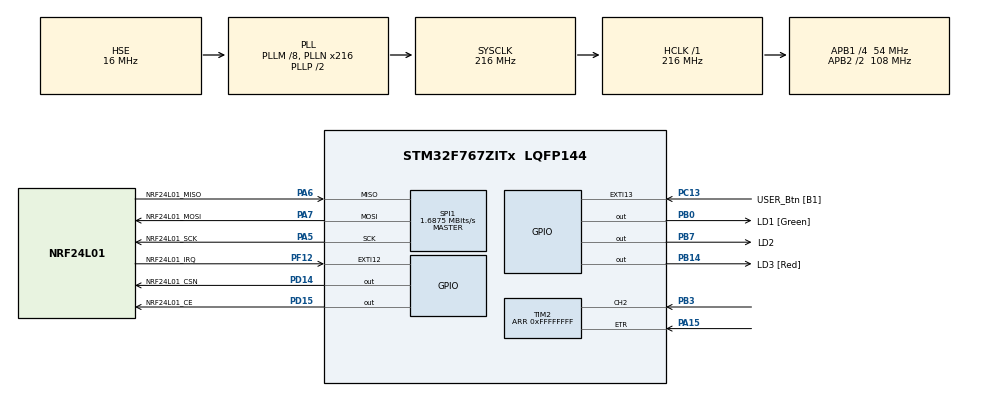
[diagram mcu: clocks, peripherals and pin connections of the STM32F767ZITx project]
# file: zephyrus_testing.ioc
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Mcu.Family=STM32F7
Mcu.Name=STM32F767ZITx
Mcu.Package=LQFP144
NVIC.EXTI15_10_IRQn=true\:0\:0\:false\:false\:true\:true\:true
NVIC.PriorityGroup=NVIC_PRIORITYGROUP_4
NVIC.SPI1_IRQn=true\:0\:0\:false\:false\:true\:true\:true
NVIC.TIM2_IRQn=true\:0\:0\:false\:false\:true\:true\:true
NVIC.TIM6_DAC_IRQn=true\:0\:0\:false\:false\:true\:false\:true
NVIC.TimeBase=TIM6_DAC_IRQn
NVIC.TimeBaseIP=TIM6
PA15.Signal=S_TIM2_CH1_ETR
PA5.GPIO_Label=NRF24L01_SCK
PA5.Mode=Full_Duplex_Master
PA5.Signal=SPI1_SCK
PA6.GPIO_Label=NRF24L01_MISO
PA6.Mode=Full_Duplex_Master
PA6.Signal=SPI1_MISO
PA7.GPIO_Label=NRF24L01_MOSI
PA7.Mode=Full_Duplex_Master
PA7.Signal=SPI1_MOSI
PB0.GPIO_Label=LD1 [Green]
PB0.Signal=GPIO_Output
PB14.GPIO_Label=LD3 [Red]
PB14.Signal=GPIO_Output
PB3.Signal=S_TIM2_CH2
PB7.GPIO_Label=LD2
PB7.Signal=GPIO_Output
PC13.GPIO_Label=USER_Btn [B1]
PC13.Signal=GPXTI13
PC14/OSC32_IN.Mode=LSE-External-Oscillator
PC14/OSC32_IN.Signal=RCC_OSC32_IN
PC15/OSC32_OUT.Mode=LSE-External-Oscillator
PC15/OSC32_OUT.Signal=RCC_OSC32_OUT
PD14.GPIO_Label=NRF24L01_CSN
PD14.GPIO_ModeDefaultOutputPP=GPIO_MODE_OUTPUT_PP
PD14.GPIO_PuPd=GPIO_PULLUP
PD14.PinState=GPIO_PIN_SET
PD14.Signal=GPIO_Output
PD15.GPIO_Label=NRF24L01_CE
PD15.GPIO_ModeDefaultOutputPP=GPIO_MODE_OUTPUT_PP
PD15.GPIO_PuPd=GPIO_PULLUP
PD15.Signal=GPIO_Output
PF12.GPIO_Label=NRF24L01_IRQ
PF12.GPIO_ModeDefaultEXTI=GPIO_MODE_IT_FALLING
PF12.GPIO_PuPd=GPIO_PULLUP
PF12.Signal=GPXTI12
PH0/OSC_IN.Mode=HSE-External-Oscillator
PH0/OSC_IN.Signal=RCC_OSC_IN
PH1/OSC_OUT.Mode=HSE-External-Oscillator
PH1/OSC_OUT.Signal=RCC_OSC_OUT
ProjectManager.HeapSize=0x200
ProjectManager.StackSize=0x400
ProjectManager.TargetToolchain=MDK-ARM V5.27
RCC.48MHZClocksFreq_Value=24000000
RCC.AHBFreq_Value=216000000
RCC.APB1CLKDivider=RCC_HCLK_DIV4
RCC.APB1Freq_Value=54000000
RCC.APB1TimFreq_Value=108000000
RCC.APB2CLKDivider=RCC_HCLK_DIV2
RCC.APB2Freq_Value=108000000
RCC.APB2TimFreq_Value=216000000
RCC.CortexFreq_Value=216000000
RCC.HCLKFreq_Value=216000000
RCC.HSE_VALUE=16000000
RCC.HSI_VALUE=16000000
RCC.PLLM=8
RCC.PLLMUL=RCC_PLL_MUL9
RCC.PLLN=216
RCC.PLLSourceVirtual=RCC_PLLSOURCE_HSE
RCC.PRESCALERUSB=RCC_USBCLKSOURCE_PLL_DIV1_5
RCC.SYSCLKFreq_VALUE=216000000
RCC.SYSCLKSource=RCC_SYSCLKSOURCE_PLLCLK
RCC.SYSCLKSourceVirtual=RCC_SYSCLKSOURCE_PLLCLK
RCC.USBFreq_Value=216000000
RCC.VCOOutputFreq_Value=432000000
SH.S_TIM2_CH1_ETR.0=TIM2_ETR,TriggerSource_ETR
SH.S_TIM2_CH2.0=TIM2_CH2,Input_Capture2_from_TI2
SPI1.BaudRatePrescaler=SPI_BAUDRATEPRESCALER_64
SPI1.CLKPhase=SPI_PHASE_1EDGE
SPI1.CLKPolarity=SPI_POLARITY_LOW
SPI1.CalculateBaudRate=1.6875 MBits/s
SPI1.DataSize=SPI_DATASIZE_8BIT
SPI1.Direction=SPI_DIRECTION_2LINES
SPI1.Mode=SPI_MODE_MASTER
SPI1.NSSPMode=SPI_NSS_PULSE_DISABLE
SPI1.VirtualType=VM_MASTER
TIM2.Channel-Input_Capture2_from_TI2=TIM_CHANNEL_2
TIM2.ICPolarity_CH2=TIM_INPUTCHANNELPOLARITY_FALLING
TIM2.Period=0xFFFFFFFF
VP_SYS_VS_tim6.Mode=TIM6
VP_TIM2_VS_ClockSourceINT.Mode=Internal
VP_TIM2_VS_ControllerModeTrigger.Mode=Trigger Mode
board=NUCLEO-F767ZI

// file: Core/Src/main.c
/* USER CODE BEGIN Header */
/**
  ******************************************************************************
  * @file           : main.c
  * @brief          : Main program body
  ******************************************************************************
  * @attention
  *
  * <h2><center>&copy; Copyright (c) 2020 STMicroelectronics.
  * All rights reserved.</center></h2>
  *
  * This software component is licensed by ST under BSD 3-Clause license,
  * the "License"; You may not use this file except in compliance with the
  * License. You may obtain a copy of the License at:
  *                        opensource.org/licenses/BSD-3-Clause
  *
  ******************************************************************************
  */
/* USER CODE END Header */

#include "main.h"
#include "spi.h"
#include "tim.h"
#include "gpio.h"

/* USER CODE BEGIN Includes */
#include "tm_stm32_nrf24l01.h"
/* USER CODE END Includes */

/* USER CODE BEGIN PTD */
/* Receiver address */

/* Interrupt pin settings */
#define IRQ_PORT    GPIOF
#define IRQ_PIN     GPIO_PIN_12

/* NRF transmission status */
TM_NRF24L01_Transmit_Status_t transmissionStatus;
TM_NRF24L01_IRQ_t NRF_IRQ;
uint32_t interrupt;
/* USER CODE END PTD */

/* USER CODE BEGIN PD */

#define ZRFMANAGER_STAC_WORDS	32

/* USER CODE END PD */

/* USER CODE BEGIN PM */
void HAL_GPIO_EXTI_Callback(uint16_t GPIO_Pin) {
	interrupt = 1;
}
/* USER CODE END PM */

void SystemClock_Config(void);

int main(void)
{
  /* USER CODE BEGIN 1 */
#define Z_RF_BROADCAST_PERIOD					500
#define Z_RF_HS_RESPONSE_TIMEOUT			5
#define Z_RF_PAYLOAD_SIZE							9
#define Z_RF_PERIOD_MS								35
#define Z_RF_QUEUE_TIMEOUT						5
#define Z_RF_C_CONN_ACPT							0xAA
#define Z_RF_MY_ADDRESS								{0x7E, 0x7E, 0x7E, 0x7E, 0x7E}
#define Z_RF_WB_ADDRESS								{0xE7, 0xE7, 0xE7, 0xE7, 0xE7}
#define Z_RF_HS_WB_CODE								{0x55, 0x55, 0x55, 0x55, 0x55, 0x55, 0x55, 0x55, 0x55}
#define Z_RF_HS_MY_CODE								{0xAA, 0xAA, 0xAA, 0xAA, 0xAA, 0xAA, 0xAA, 0xAA, 0xAA}

	volatile uint8_t my_address[5] = Z_RF_MY_ADDRESS;
	volatile uint8_t wb_address[5] = Z_RF_WB_ADDRESS;
	volatile const uint8_t my_code[Z_RF_PAYLOAD_SIZE] = Z_RF_HS_MY_CODE;
	volatile const uint8_t wb_code[Z_RF_PAYLOAD_SIZE] = Z_RF_HS_WB_CODE;
	volatile uint8_t data_in[Z_RF_PAYLOAD_SIZE];
	volatile uint8_t data_out[Z_RF_PAYLOAD_SIZE];
	/* USER CODE END 1 */

  /* MCU Configuration--------------------------------------------------------*/

  /* Reset of all peripherals, Initializes the Flash interface and the Systick. */
  HAL_Init();

  /* Configure the system clock */
  SystemClock_Config();

  /* Initialize all configured peripherals */
  MX_GPIO_Init();
  MX_SPI1_Init();
  MX_TIM2_Init();

  /* Infinite loop */
  /* USER CODE BEGIN WHILE */

	/* Initialize NRF24L01+ on channel 15 and 32bytes of payload */
	/* By default 2Mbps data rate and 0dBm output power */
	/* NRF24L01 goes to RX mode by default */
	TM_NRF24L01_Init(15, Z_RF_PAYLOAD_SIZE);

	/* Set 2MBps data rate and -18dBm output power */
	TM_NRF24L01_SetRF(TM_NRF24L01_DataRate_2M, TM_NRF24L01_OutputPower_0dBm);

	/* Set my address, 5 bytes */
	TM_NRF24L01_SetMyAddress(my_address);

	/* Set TX address, 5 bytes */
	TM_NRF24L01_SetTxAddress(wb_address);

	/* Go back to RX mode */
	TM_NRF24L01_PowerUpRx();

	HAL_GPIO_WritePin(LD1_GPIO_Port, LD1_Pin, GPIO_PIN_RESET);
	HAL_GPIO_WritePin(LD3_GPIO_Port, LD3_Pin, GPIO_PIN_RESET);

	interrupt = 0;

   while (1)
  {
		int32_t it = 0;

		while(!interrupt);
		interrupt = 0;

		TM_NRF24L01_Read_Interrupts(&NRF_IRQ);

		if(NRF_IRQ.F.DataReady) {
			TM_NRF24L01_GetData(data_in);

			for (it = Z_RF_PAYLOAD_SIZE-1; it >= 0; it--) {
				if (data_in[it] != wb_code[it])
					break;
			}

			it++;

			HAL_GPIO_WritePin(LD1_GPIO_Port, LD1_Pin, GPIO_PIN_SET);

			HAL_Delay(5);

			// code correct
			if (it == 0) {
				interrupt = 0;
				TM_NRF24L01_PowerUpTx();
				TM_NRF24L01_Transmit((uint8_t*)my_code);
				while(!interrupt);
				interrupt = 0;
				TM_NRF24L01_Read_Interrupts(&NRF_IRQ);

				if(NRF_IRQ.F.DataSent) {
					HAL_GPIO_WritePin(LD3_GPIO_Port, LD3_Pin, GPIO_PIN_SET);
				}
			}
		}

			while(1);
	}

    /* USER CODE END WHILE */

}

void SystemClock_Config(void)
{
  RCC_OscInitTypeDef RCC_OscInitStruct = {0};
  RCC_ClkInitTypeDef RCC_ClkInitStruct = {0};

  /** Configure LSE Drive Capability
  */
  HAL_PWR_EnableBkUpAccess();
  /** Configure the main internal regulator output voltage
  */
  __HAL_RCC_PWR_CLK_ENABLE();
  __HAL_PWR_VOLTAGESCALING_CONFIG(PWR_REGULATOR_VOLTAGE_SCALE1);
  /** Initializes the CPU, AHB and APB busses clocks
  */
  RCC_OscInitStruct.OscillatorType = RCC_OSCILLATORTYPE_HSE;
  RCC_OscInitStruct.HSEState = RCC_HSE_ON;
  RCC_OscInitStruct.PLL.PLLState = RCC_PLL_ON;
  RCC_OscInitStruct.PLL.PLLSource = RCC_PLLSOURCE_HSE;
  RCC_OscInitStruct.PLL.PLLM = 8;
  RCC_OscInitStruct.PLL.PLLN = 216;
  RCC_OscInitStruct.PLL.PLLP = RCC_PLLP_DIV2;
  RCC_OscInitStruct.PLL.PLLQ = 2;
  if (HAL_RCC_OscConfig(&RCC_OscInitStruct) != HAL_OK)
  {
    Error_Handler();
  }
  /** Activate the Over-Drive mode
  */
  if (HAL_PWREx_EnableOverDrive() != HAL_OK)
  {
    Error_Handler();
  }
  /** Initializes the CPU, AHB and APB busses clocks
  */
  RCC_ClkInitStruct.ClockType = RCC_CLOCKTYPE_HCLK|RCC_CLOCKTYPE_SYSCLK
                              |RCC_CLOCKTYPE_PCLK1|RCC_CLOCKTYPE_PCLK2;
  RCC_ClkInitStruct.SYSCLKSource = RCC_SYSCLKSOURCE_PLLCLK;
  RCC_ClkInitStruct.AHBCLKDivider = RCC_SYSCLK_DIV1;
  RCC_ClkInitStruct.APB1CLKDivider = RCC_HCLK_DIV4;
  RCC_ClkInitStruct.APB2CLKDivider = RCC_HCLK_DIV2;

  if (HAL_RCC_ClockConfig(&RCC_ClkInitStruct, FLASH_LATENCY_7) != HAL_OK)
  {
    Error_Handler();
  }
}

void HAL_TIM_PeriodElapsedCallback(TIM_HandleTypeDef *htim)
{
  if (htim->Instance == TIM6) {
    HAL_IncTick();
  }
}

void Error_Handler(void)
{
}

/************************ (C) COPYRIGHT STMicroelectronics *****END OF FILE****/
